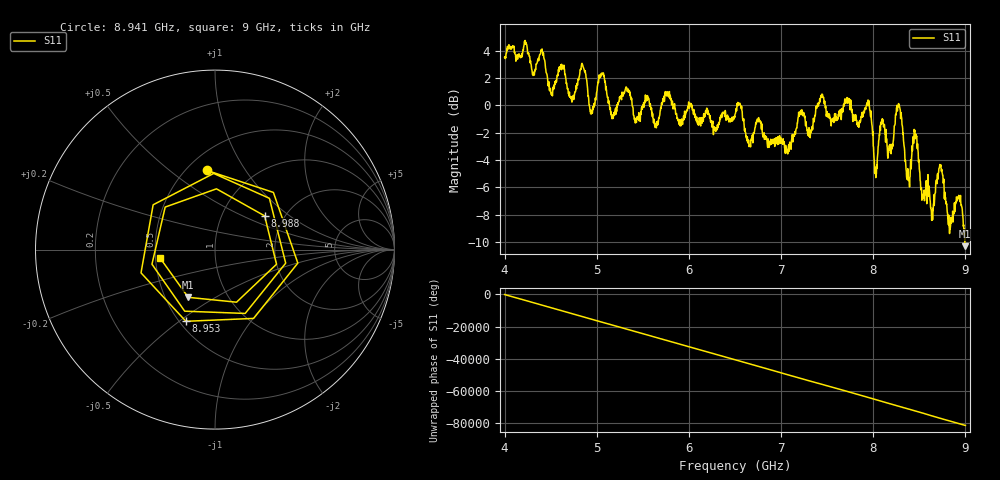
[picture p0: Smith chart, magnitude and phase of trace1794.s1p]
! Created with skrf 1.8.0 (http://scikit-rf.org).
# Hz S RI R 50.0
!freq ReS11 ImS11
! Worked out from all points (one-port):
!   1601 points, 4 GHz to 9 GHz, reference 50 ohm
!   lowest |S11| = -10.3 dB at 8.997 GHz (marker M1), VSWR 1.88, Z = 32.6 - j19.1 ohm
!   |S11| at or under -10 dB: 8.99409 GHz to end of sweep
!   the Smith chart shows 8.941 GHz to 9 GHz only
!   S11 on the Smith chart (normalised r, x): 8.941 GHz: 0.62, +0.69; 8.953 GHz: 0.54, -0.53; 8.988 GHz: 1.59, +0.67; 9 GHz: 0.53, -0.06
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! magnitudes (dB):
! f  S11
! 4 GHz  3.5
! 4.403 GHz  4.0
! 4.509 GHz  0.8
! 4.625 GHz  2.7
! 4.731 GHz  0.2
! 4.856 GHz  2.8
! 4.941 GHz  -0.6
! 5.05 GHz  2.4
! 5.166 GHz  -1.0
! 5.25 GHz  0.5
! 5.875 GHz  -0.9
! 6.5 GHz  -0.7
! 7.125 GHz  -2.6
! 7.75 GHz  -0.3
! 7.95 GHz  0.0
! 8.028 GHz  -5.3
! 8.278 GHz  0.0
! 8.375 GHz  -4.6
! 8.456 GHz  -2.4
! 8.531 GHz  -6.7
! 8.638 GHz  -8.4
! 8.722 GHz  -4.3
! 8.834 GHz  -9.1
! 8.941 GHz  -7.1
! 8.953 GHz  -7.3
! 8.988 GHz  -9.5
! 8.997 GHz  -10.3
! 9 GHz  -10.2
